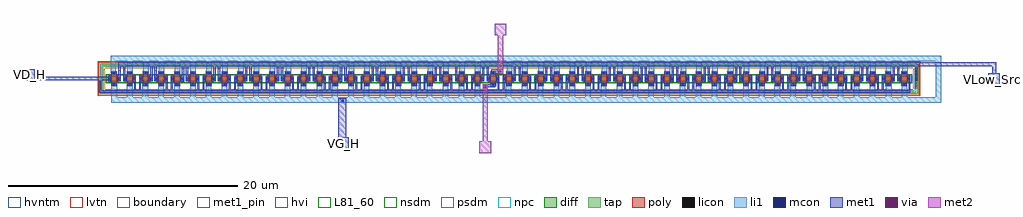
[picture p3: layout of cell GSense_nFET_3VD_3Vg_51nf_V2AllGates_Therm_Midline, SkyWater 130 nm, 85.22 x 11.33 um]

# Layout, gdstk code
import gdstk
lib = gdstk.Library(unit=1e-6, precision=1e-09)
def R(c, l, rs):  # rectangles x0, y0, x1, y1
    for r in rs: c.add(gdstk.rectangle(r[:2], r[2:], *l))
def A(c, l, x, y, w, h, nx, ny, dx, dy):  # array of equal rectangles
    R(c, l, [(x+i*dx, y+j*dy, x+i*dx+w, y+j*dy+h) for i in range(nx) for j in range(ny)])
diff = (65, 20)
tap = (65, 44)
poly = (66, 20)
licon = (66, 44)
li1 = (67, 20)
mcon = (67, 44)
met1_pin = (68, 16)
met1 = (68, 20)
via = (68, 44)
met2 = (69, 20)
hvi = (75, 20)
L81_60 = (81, 60)
nsdm = (93, 44)
psdm = (94, 20)
npc = (95, 20)
hvntm = (125, 20)
lvtn = (125, 44)
boundary = (235, 4)

sky130_fd_pr__nfet_03v3_ = lib.new_cell('sky130_fd_pr__nfet_03v3_nvt_XW2EXC')
A(sky130_fd_pr__nfet_03v3_, diff, -35.04, -0.21, 1.08, 0.42, 51, 1, 1.38, 0)
R(sky130_fd_pr__nfet_03v3_, tap, [(-35.71,-1.32,35.71,-1.03), (-35.71,-1.03,-35.42,1.03), (35.42,-1.03,35.71,1.03), (-35.71,1.03,35.71,1.32)])
A(sky130_fd_pr__nfet_03v3_, poly, -34.75, -0.65, 0.5, 1.3, 51, 1, 1.38, 0)
A(sky130_fd_pr__nfet_03v3_, licon, 35.48, -0.765, 0.17, 0.17, 1, 5, 0, 0.34)
A(sky130_fd_pr__nfet_03v3_, licon, -34.585, -0.57, 0.17, 0.17, 51, 2, 1.38, 0.97)
R(sky130_fd_pr__nfet_03v3_, licon, [(-34.98,-0.085,-34.81,0.085), (-34.19,-0.085,-34.02,0.085), (-33.6,-0.085,-33.43,0.085), (-32.81,-0.085,-32.64,0.085), (-32.22,-0.085,-32.05,0.085), (-31.43,-0.085,-31.26,0.085), (-30.84,-0.085,-30.67,0.085), (-30.05,-0.085,-29.88,0.085), (-29.46,-0.085,-29.29,0.085), (-28.67,-0.085,-28.5,0.085), (-28.08,-0.085,-27.91,0.085), (-27.29,-0.085,-27.12,0.085), (-26.7,-0.085,-26.53,0.085), (-25.91,-0.085,-25.74,0.085), (-25.32,-0.085,-25.15,0.085), (-24.53,-0.085,-24.36,0.085), (-23.94,-0.085,-23.77,0.085), (-23.15,-0.085,-22.98,0.085), (-22.56,-0.085,-22.39,0.085), (-21.77,-0.085,-21.6,0.085), (-21.18,-0.085,-21.01,0.085), (-20.39,-0.085,-20.22,0.085), (-19.8,-0.085,-19.63,0.085), (-19.01,-0.085,-18.84,0.085), (-18.42,-0.085,-18.25,0.085), (-17.63,-0.085,-17.46,0.085), (-17.04,-0.085,-16.87,0.085), (-16.25,-0.085,-16.08,0.085), (-15.66,-0.085,-15.49,0.085), (-14.87,-0.085,-14.7,0.085), (-14.28,-0.085,-14.11,0.085), (-13.49,-0.085,-13.32,0.085), (-12.9,-0.085,-12.73,0.085), (-12.11,-0.085,-11.94,0.085), (-11.52,-0.085,-11.35,0.085), (-10.73,-0.085,-10.56,0.085), (-10.14,-0.085,-9.97,0.085), (-9.35,-0.085,-9.18,0.085), (-8.76,-0.085,-8.59,0.085), (-7.97,-0.085,-7.8,0.085), (-7.38,-0.085,-7.21,0.085), (-6.59,-0.085,-6.42,0.085), (-6,-0.085,-5.83,0.085), (-5.21,-0.085,-5.04,0.085), (-4.62,-0.085,-4.45,0.085), (-3.83,-0.085,-3.66,0.085), (-3.24,-0.085,-3.07,0.085), (-2.45,-0.085,-2.28,0.085), (-1.86,-0.085,-1.69,0.085), (-1.07,-0.085,-0.9,0.085), (-0.48,-0.085,-0.31,0.085), (0.31,-0.085,0.48,0.085), (0.9,-0.085,1.07,0.085), (1.69,-0.085,1.86,0.085), (2.28,-0.085,2.45,0.085), (3.07,-0.085,3.24,0.085), (3.66,-0.085,3.83,0.085), (4.45,-0.085,4.62,0.085), (5.04,-0.085,5.21,0.085), (5.83,-0.085,6,0.085), (6.42,-0.085,6.59,0.085), (7.21,-0.085,7.38,0.085), (7.8,-0.085,7.97,0.085), (8.59,-0.085,8.76,0.085), (9.18,-0.085,9.35,0.085), (9.97,-0.085,10.14,0.085), (10.56,-0.085,10.73,0.085), (11.35,-0.085,11.52,0.085), (11.94,-0.085,12.11,0.085), (12.73,-0.085,12.9,0.085), (13.32,-0.085,13.49,0.085), (14.11,-0.085,14.28,0.085), (14.7,-0.085,14.87,0.085), (15.49,-0.085,15.66,0.085), (16.08,-0.085,16.25,0.085), (16.87,-0.085,17.04,0.085), (17.46,-0.085,17.63,0.085), (18.25,-0.085,18.42,0.085), (18.84,-0.085,19.01,0.085), (19.63,-0.085,19.8,0.085), (20.22,-0.085,20.39,0.085), (21.01,-0.085,21.18,0.085), (21.6,-0.085,21.77,0.085), (22.39,-0.085,22.56,0.085), (22.98,-0.085,23.15,0.085), (23.77,-0.085,23.94,0.085), (24.36,-0.085,24.53,0.085), (25.15,-0.085,25.32,0.085), (25.74,-0.085,25.91,0.085), (26.53,-0.085,26.7,0.085), (27.12,-0.085,27.29,0.085), (27.91,-0.085,28.08,0.085), (28.5,-0.085,28.67,0.085), (29.29,-0.085,29.46,0.085), (29.88,-0.085,30.05,0.085), (30.67,-0.085,30.84,0.085), (31.26,-0.085,31.43,0.085), (32.05,-0.085,32.22,0.085), (32.64,-0.085,32.81,0.085), (33.43,-0.085,33.6,0.085), (34.02,-0.085,34.19,0.085), (34.81,-0.085,34.98,0.085)])
A(sky130_fd_pr__nfet_03v3_, li1, -34.75, -0.57, 0.5, 0.17, 51, 2, 1.38, 0.97)
R(sky130_fd_pr__nfet_03v3_, li1, [(35.48,-0.86,35.65,0.86), (-34.98,-0.23,-34.81,0.23), (-34.19,-0.23,-34.02,0.23), (-33.6,-0.23,-33.43,0.23), (-32.81,-0.23,-32.64,0.23), (-32.22,-0.23,-32.05,0.23), (-31.43,-0.23,-31.26,0.23), (-30.84,-0.23,-30.67,0.23), (-30.05,-0.23,-29.88,0.23), (-29.46,-0.23,-29.29,0.23), (-28.67,-0.23,-28.5,0.23), (-28.08,-0.23,-27.91,0.23), (-27.29,-0.23,-27.12,0.23), (-26.7,-0.23,-26.53,0.23), (-25.91,-0.23,-25.74,0.23), (-25.32,-0.23,-25.15,0.23), (-24.53,-0.23,-24.36,0.23), (-23.94,-0.23,-23.77,0.23), (-23.15,-0.23,-22.98,0.23), (-22.56,-0.23,-22.39,0.23), (-21.77,-0.23,-21.6,0.23), (-21.18,-0.23,-21.01,0.23), (-20.39,-0.23,-20.22,0.23), (-19.8,-0.23,-19.63,0.23), (-19.01,-0.23,-18.84,0.23), (-18.42,-0.23,-18.25,0.23), (-17.63,-0.23,-17.46,0.23), (-17.04,-0.23,-16.87,0.23), (-16.25,-0.23,-16.08,0.23), (-15.66,-0.23,-15.49,0.23), (-14.87,-0.23,-14.7,0.23), (-14.28,-0.23,-14.11,0.23), (-13.49,-0.23,-13.32,0.23), (-12.9,-0.23,-12.73,0.23), (-12.11,-0.23,-11.94,0.23), (-11.52,-0.23,-11.35,0.23), (-10.73,-0.23,-10.56,0.23), (-10.14,-0.23,-9.97,0.23), (-9.35,-0.23,-9.18,0.23), (-8.76,-0.23,-8.59,0.23), (-7.97,-0.23,-7.8,0.23), (-7.38,-0.23,-7.21,0.23), (-6.59,-0.23,-6.42,0.23), (-6,-0.23,-5.83,0.23), (-5.21,-0.23,-5.04,0.23), (-4.62,-0.23,-4.45,0.23), (-3.83,-0.23,-3.66,0.23), (-3.24,-0.23,-3.07,0.23), (-2.45,-0.23,-2.28,0.23), (-1.86,-0.23,-1.69,0.23), (-1.07,-0.23,-0.9,0.23), (-0.48,-0.23,-0.31,0.23), (0.31,-0.23,0.48,0.23), (0.9,-0.23,1.07,0.23), (1.69,-0.23,1.86,0.23), (2.28,-0.23,2.45,0.23), (3.07,-0.23,3.24,0.23), (3.66,-0.23,3.83,0.23), (4.45,-0.23,4.62,0.23), (5.04,-0.23,5.21,0.23), (5.83,-0.23,6,0.23), (6.42,-0.23,6.59,0.23), (7.21,-0.23,7.38,0.23), (7.8,-0.23,7.97,0.23), (8.59,-0.23,8.76,0.23), (9.18,-0.23,9.35,0.23), (9.97,-0.23,10.14,0.23), (10.56,-0.23,10.73,0.23), (11.35,-0.23,11.52,0.23), (11.94,-0.23,12.11,0.23), (12.73,-0.23,12.9,0.23), (13.32,-0.23,13.49,0.23), (14.11,-0.23,14.28,0.23), (14.7,-0.23,14.87,0.23), (15.49,-0.23,15.66,0.23), (16.08,-0.23,16.25,0.23), (16.87,-0.23,17.04,0.23), (17.46,-0.23,17.63,0.23), (18.25,-0.23,18.42,0.23), (18.84,-0.23,19.01,0.23), (19.63,-0.23,19.8,0.23), (20.22,-0.23,20.39,0.23), (21.01,-0.23,21.18,0.23), (21.6,-0.23,21.77,0.23), (22.39,-0.23,22.56,0.23), (22.98,-0.23,23.15,0.23), (23.77,-0.23,23.94,0.23), (24.36,-0.23,24.53,0.23), (25.15,-0.23,25.32,0.23), (25.74,-0.23,25.91,0.23), (26.53,-0.23,26.7,0.23), (27.12,-0.23,27.29,0.23), (27.91,-0.23,28.08,0.23), (28.5,-0.23,28.67,0.23), (29.29,-0.23,29.46,0.23), (29.88,-0.23,30.05,0.23), (30.67,-0.23,30.84,0.23), (31.26,-0.23,31.43,0.23), (32.05,-0.23,32.22,0.23), (32.64,-0.23,32.81,0.23), (33.43,-0.23,33.6,0.23), (34.02,-0.23,34.19,0.23), (34.81,-0.23,34.98,0.23)])
A(sky130_fd_pr__nfet_03v3_, mcon, -34.585, -0.57, 0.17, 0.17, 51, 2, 1.38, 0.97)
R(sky130_fd_pr__nfet_03v3_, mcon, [(-34.98,-0.085,-34.81,0.085), (-34.19,-0.085,-34.02,0.085), (-33.6,-0.085,-33.43,0.085), (-32.81,-0.085,-32.64,0.085), (-32.22,-0.085,-32.05,0.085), (-31.43,-0.085,-31.26,0.085), (-30.84,-0.085,-30.67,0.085), (-30.05,-0.085,-29.88,0.085), (-29.46,-0.085,-29.29,0.085), (-28.67,-0.085,-28.5,0.085), (-28.08,-0.085,-27.91,0.085), (-27.29,-0.085,-27.12,0.085), (-26.7,-0.085,-26.53,0.085), (-25.91,-0.085,-25.74,0.085), (-25.32,-0.085,-25.15,0.085), (-24.53,-0.085,-24.36,0.085), (-23.94,-0.085,-23.77,0.085), (-23.15,-0.085,-22.98,0.085), (-22.56,-0.085,-22.39,0.085), (-21.77,-0.085,-21.6,0.085), (-21.18,-0.085,-21.01,0.085), (-20.39,-0.085,-20.22,0.085), (-19.8,-0.085,-19.63,0.085), (-19.01,-0.085,-18.84,0.085), (-18.42,-0.085,-18.25,0.085), (-17.63,-0.085,-17.46,0.085), (-17.04,-0.085,-16.87,0.085), (-16.25,-0.085,-16.08,0.085), (-15.66,-0.085,-15.49,0.085), (-14.87,-0.085,-14.7,0.085), (-14.28,-0.085,-14.11,0.085), (-13.49,-0.085,-13.32,0.085), (-12.9,-0.085,-12.73,0.085), (-12.11,-0.085,-11.94,0.085), (-11.52,-0.085,-11.35,0.085), (-10.73,-0.085,-10.56,0.085), (-10.14,-0.085,-9.97,0.085), (-9.35,-0.085,-9.18,0.085), (-8.76,-0.085,-8.59,0.085), (-7.97,-0.085,-7.8,0.085), (-7.38,-0.085,-7.21,0.085), (-6.59,-0.085,-6.42,0.085), (-6,-0.085,-5.83,0.085), (-5.21,-0.085,-5.04,0.085), (-4.62,-0.085,-4.45,0.085), (-3.83,-0.085,-3.66,0.085), (-3.24,-0.085,-3.07,0.085), (-2.45,-0.085,-2.28,0.085), (-1.86,-0.085,-1.69,0.085), (-1.07,-0.085,-0.9,0.085), (-0.48,-0.085,-0.31,0.085), (0.31,-0.085,0.48,0.085), (0.9,-0.085,1.07,0.085), (1.69,-0.085,1.86,0.085), (2.28,-0.085,2.45,0.085), (3.07,-0.085,3.24,0.085), (3.66,-0.085,3.83,0.085), (4.45,-0.085,4.62,0.085), (5.04,-0.085,5.21,0.085), (5.83,-0.085,6,0.085), (6.42,-0.085,6.59,0.085), (7.21,-0.085,7.38,0.085), (7.8,-0.085,7.97,0.085), (8.59,-0.085,8.76,0.085), (9.18,-0.085,9.35,0.085), (9.97,-0.085,10.14,0.085), (10.56,-0.085,10.73,0.085), (11.35,-0.085,11.52,0.085), (11.94,-0.085,12.11,0.085), (12.73,-0.085,12.9,0.085), (13.32,-0.085,13.49,0.085), (14.11,-0.085,14.28,0.085), (14.7,-0.085,14.87,0.085), (15.49,-0.085,15.66,0.085), (16.08,-0.085,16.25,0.085), (16.87,-0.085,17.04,0.085), (17.46,-0.085,17.63,0.085), (18.25,-0.085,18.42,0.085), (18.84,-0.085,19.01,0.085), (19.63,-0.085,19.8,0.085), (20.22,-0.085,20.39,0.085), (21.01,-0.085,21.18,0.085), (21.6,-0.085,21.77,0.085), (22.39,-0.085,22.56,0.085), (22.98,-0.085,23.15,0.085), (23.77,-0.085,23.94,0.085), (24.36,-0.085,24.53,0.085), (25.15,-0.085,25.32,0.085), (25.74,-0.085,25.91,0.085), (26.53,-0.085,26.7,0.085), (27.12,-0.085,27.29,0.085), (27.91,-0.085,28.08,0.085), (28.5,-0.085,28.67,0.085), (29.29,-0.085,29.46,0.085), (29.88,-0.085,30.05,0.085), (30.67,-0.085,30.84,0.085), (31.26,-0.085,31.43,0.085), (32.05,-0.085,32.22,0.085), (32.64,-0.085,32.81,0.085), (33.43,-0.085,33.6,0.085), (34.02,-0.085,34.19,0.085), (34.81,-0.085,34.98,0.085)])
A(sky130_fd_pr__nfet_03v3_, met1, -34.73, -0.6, 0.46, 0.23, 51, 2, 1.38, 0.97)
R(sky130_fd_pr__nfet_03v3_, met1, [(-34.94,-1.24,-34.06,-1.03), (-35.01,-0.21,-34.78,0.21), (-34.22,-0.21,-33.99,0.21), (-33.63,-0.21,-33.4,0.21), (-32.84,-0.21,-32.61,0.21), (-32.25,-0.21,-32.02,0.21), (-31.46,-0.21,-31.23,0.21), (-30.87,-0.21,-30.64,0.21), (-30.08,-0.21,-29.85,0.21), (-29.49,-0.21,-29.26,0.21), (-28.7,-0.21,-28.47,0.21), (-28.11,-0.21,-27.88,0.21), (-27.32,-0.21,-27.09,0.21), (-26.73,-0.21,-26.5,0.21), (-25.94,-0.21,-25.71,0.21), (-25.35,-0.21,-25.12,0.21), (-24.56,-0.21,-24.33,0.21), (-23.97,-0.21,-23.74,0.21), (-23.18,-0.21,-22.95,0.21), (-22.59,-0.21,-22.36,0.21), (-21.8,-0.21,-21.57,0.21), (-21.21,-0.21,-20.98,0.21), (-20.42,-0.21,-20.19,0.21), (-19.83,-0.21,-19.6,0.21), (-19.04,-0.21,-18.81,0.21), (-18.45,-0.21,-18.22,0.21), (-17.66,-0.21,-17.43,0.21), (-17.07,-0.21,-16.84,0.21), (-16.28,-0.21,-16.05,0.21), (-15.69,-0.21,-15.46,0.21), (-14.9,-0.21,-14.67,0.21), (-14.31,-0.21,-14.08,0.21), (-13.52,-0.21,-13.29,0.21), (-12.93,-0.21,-12.7,0.21), (-12.14,-0.21,-11.91,0.21), (-11.55,-0.21,-11.32,0.21), (-10.76,-0.21,-10.53,0.21), (-10.17,-0.21,-9.94,0.21), (-9.38,-0.21,-9.15,0.21), (-8.79,-0.21,-8.56,0.21), (-8,-0.21,-7.77,0.21), (-7.41,-0.21,-7.18,0.21), (-6.62,-0.21,-6.39,0.21), (-6.03,-0.21,-5.8,0.21), (-5.24,-0.21,-5.01,0.21), (-4.65,-0.21,-4.42,0.21), (-3.86,-0.21,-3.63,0.21), (-3.27,-0.21,-3.04,0.21), (-2.48,-0.21,-2.25,0.21), (-1.89,-0.21,-1.66,0.21), (-1.1,-0.21,-0.87,0.21), (-0.51,-0.21,-0.28,0.21), (0.28,-0.21,0.51,0.21), (0.87,-0.21,1.1,0.21), (1.66,-0.21,1.89,0.21), (2.25,-0.21,2.48,0.21), (3.04,-0.21,3.27,0.21), (3.63,-0.21,3.86,0.21), (4.42,-0.21,4.65,0.21), (5.01,-0.21,5.24,0.21), (5.8,-0.21,6.03,0.21), (6.39,-0.21,6.62,0.21), (7.18,-0.21,7.41,0.21), (7.77,-0.21,8,0.21), (8.56,-0.21,8.79,0.21), (9.15,-0.21,9.38,0.21), (9.94,-0.21,10.17,0.21), (10.53,-0.21,10.76,0.21), (11.32,-0.21,11.55,0.21), (11.91,-0.21,12.14,0.21), (12.7,-0.21,12.93,0.21), (13.29,-0.21,13.52,0.21), (14.08,-0.21,14.31,0.21), (14.67,-0.21,14.9,0.21), (15.46,-0.21,15.69,0.21), (16.05,-0.21,16.28,0.21), (16.84,-0.21,17.07,0.21), (17.43,-0.21,17.66,0.21), (18.22,-0.21,18.45,0.21), (18.81,-0.21,19.04,0.21), (19.6,-0.21,19.83,0.21), (20.19,-0.21,20.42,0.21), (20.98,-0.21,21.21,0.21), (21.57,-0.21,21.8,0.21), (22.36,-0.21,22.59,0.21), (22.95,-0.21,23.18,0.21), (23.74,-0.21,23.97,0.21), (24.33,-0.21,24.56,0.21), (25.12,-0.21,25.35,0.21), (25.71,-0.21,25.94,0.21), (26.5,-0.21,26.73,0.21), (27.09,-0.21,27.32,0.21), (27.88,-0.21,28.11,0.21), (28.47,-0.21,28.7,0.21), (29.26,-0.21,29.49,0.21), (29.85,-0.21,30.08,0.21), (30.64,-0.21,30.87,0.21), (31.23,-0.21,31.46,0.21), (32.02,-0.21,32.25,0.21), (32.61,-0.21,32.84,0.21), (33.4,-0.21,33.63,0.21), (33.99,-0.21,34.22,0.21), (34.78,-0.21,35.01,0.21)])
R(sky130_fd_pr__nfet_03v3_, hvi, [(-35.895,-1.505,35.895,1.505)])
A(sky130_fd_pr__nfet_03v3_, L81_60, -34.85, -0.31, 0.7, 0.62, 51, 1, 1.38, 0)
R(sky130_fd_pr__nfet_03v3_, nsdm, [(-35.165,-0.335,35.165,0.335)])
R(sky130_fd_pr__nfet_03v3_, psdm, [(-35.835,-1.445,35.835,-0.905), (-35.835,-0.905,-35.295,0.905), (35.295,-0.905,35.835,0.905), (-35.835,0.905,35.835,1.445)])
A(sky130_fd_pr__nfet_03v3_, npc, -34.685, -0.67, 0.37, 0.37, 51, 2, 1.38, 0.97)
R(sky130_fd_pr__nfet_03v3_, hvntm, [(-35.225,-0.395,35.225,0.395)])
A(sky130_fd_pr__nfet_03v3_, lvtn, -34.93, -0.39, 0.86, 0.78, 51, 1, 1.38, 0)
R(sky130_fd_pr__nfet_03v3_, boundary, [(-35.56,-1.17,35.56,1.17)])

gsense_nfet_3vd_3vg_51nf = lib.new_cell('GSense_nFET_3VD_3Vg_51nf_V2AllGates_Therm_Midline')
R(gsense_nfet_3vd_3vg_51nf, li1, [(0.83,-4.935,73.295,-4.445), (0.845,-4.445,1.355,-3.245), (2.2,-4.445,2.69,-3.23), (3.56,-4.445,4.05,-3.25), (4.94,-4.445,5.43,-3.27), (6.33,-4.445,6.82,-3.3), (7.71,-4.445,8.2,-3.32), (9.08,-4.445,9.57,-3.31), (10.47,-4.445,10.96,-3.32), (11.86,-4.445,12.35,-3.32), (13.23,-4.445,13.72,-3.32), (14.62,-4.445,15.11,-3.31), (15.975,-4.445,16.475,-3.35), (17.36,-4.445,17.85,-3.27), (18.76,-4.445,19.25,-3.3), (20.1,-4.445,20.59,-3.3), (21.52,-4.445,22.01,-3.32), (22.89,-4.445,23.38,-3.3), (24.27,-4.445,24.76,-3.32), (25.64,-4.445,26.13,-3.28), (27.03,-4.445,27.52,-3.32), (28.38,-4.445,28.87,-3.31), (29.76,-4.445,30.25,-3.28), (31.17,-4.445,31.66,-3.25), (32.55,-4.445,33.04,-3.27), (35.28,-4.445,35.77,-3.27), (36.69,-4.445,37.18,-3.27), (38.08,-4.445,38.57,-3.3), (39.45,-4.445,39.94,-3.3), (40.84,-4.445,41.33,-3.32), (42.22,-4.445,42.71,-3.34), (43.56,-4.445,44.05,-3.34), (44.97,-4.445,45.46,-3.36), (46.36,-4.445,46.85,-3.35), (47.73,-4.445,48.22,-3.36), (49.11,-4.445,49.6,-3.36), (50.46,-4.445,50.95,-3.28), (51.85,-4.445,52.34,-3.32), (53.26,-4.445,53.75,-3.34), (54.67,-4.445,55.16,-3.32), (56.01,-4.445,56.5,-3.3), (57.39,-4.445,57.88,-3.3), (58.74,-4.445,59.23,-3.3), (60.13,-4.445,60.62,-3.27), (61.54,-4.445,62.03,-3.27), (62.94,-4.445,63.43,-3.27), (64.27,-4.445,64.76,-3.28), (65.65,-4.445,66.14,-3.31), (67.05,-4.445,67.54,-3.28), (68.47,-4.445,68.96,-3.28), (69.86,-4.445,70.35,-3.26), (72.805,-4.445,73.295,-1.325), (33.92,-3.475,34.41,-3.27), (15.98,-3.35,16.47,-3.27), (22.91,-2.43,23.4,-1.325), (68.44,-2.43,68.93,-1.325), (67.09,-2.42,67.58,-1.325), (69.9,-2.42,70.39,-1.325), (18.8,-2.41,19.29,-1.325), (28.46,-2.41,28.95,-1.325), (29.82,-2.41,30.31,-1.325), (31.22,-2.41,31.71,-1.325), (32.59,-2.41,33.08,-1.325), (35.35,-2.41,35.84,-1.325), (46.38,-2.41,46.87,-1.325), (47.77,-2.41,48.26,-1.325), (27.03,-2.4,27.52,-1.325), (36.73,-2.4,37.22,-1.325), (38.11,-2.4,38.6,-1.325), (40.87,-2.4,41.36,-1.325), (42.25,-2.4,42.74,-1.325), (43.64,-2.4,44.13,-1.325), (45.02,-2.4,45.51,-1.325), (51.91,-2.4,52.4,-1.325), (4.98,-2.39,5.47,-1.325), (6.37,-2.39,6.86,-1.325), (9.12,-2.39,9.61,-1.325), (10.51,-2.39,11,-1.325), (13.27,-2.39,13.76,-1.325), (20.16,-2.39,20.65,-1.325), (21.55,-2.39,22.04,-1.325), (24.3,-2.39,24.79,-1.325), (25.68,-2.39,26.17,-1.325), (39.49,-2.39,39.98,-1.325), (49.15,-2.39,49.64,-1.325), (57.44,-2.39,57.93,-1.325), (2.23,-2.38,2.72,-1.325), (7.73,-2.38,8.22,-1.325), (50.54,-2.38,51.03,-1.325), (53.29,-2.38,53.78,-1.325), (54.68,-2.38,55.17,-1.325), (58.82,-2.38,59.31,-1.325), (60.2,-2.38,60.69,-1.325), (0.805,-2.375,1.24,-1.325), (16.075,-2.375,16.55,-2.37), (3.61,-2.37,4.1,-1.325), (11.9,-2.37,12.39,-1.325), (14.65,-2.37,15.14,-1.325), (16.03,-2.37,16.55,-2.275), (56.06,-2.37,56.55,-1.325), (61.57,-2.37,62.06,-1.325), (62.97,-2.37,63.46,-1.325), (64.35,-2.37,64.84,-1.325), (65.71,-2.37,66.2,-1.325), (17.42,-2.36,17.91,-1.325), (16.075,-2.275,16.55,-1.325), (0.805,-1.325,73.295,-1.125), (0.81,-1.125,73.295,-0.835)])
R(gsense_nfet_3vd_3vg_51nf, mcon, [(20.97,-4.825,21.14,-4.655)])
R(gsense_nfet_3vd_3vg_51nf, met1_pin, [(20.59,-8.95,21.59,-7.95), (77.39,-3.37,78.39,-2.37), (-6.83,-3,-5.83,-2)])
A(gsense_nfet_3vd_3vg_51nf, met1, 51.13, -3.86, 0.15, 1.32, 3, 1, 2.76, 0)
R(gsense_nfet_3vd_3vg_51nf, met1, [(20.59,-8.95,21.59,-7.95), (20.66,-7.95,21.36,-4.54), (70.4,-4.08,70.61,-4.07), (-0.235,-4.07,0.87,-3.86), (1.27,-4.07,70.61,-3.86), (-0.235,-3.86,-0.025,-2.97), (2.84,-3.86,2.99,-2.58), (3.27,-3.86,3.42,-2.58), (5.61,-3.86,5.76,-2.58), (6.04,-3.86,6.19,-2.58), (8.35,-3.86,8.5,-2.58), (8.81,-3.86,8.96,-2.59), (11.1,-3.86,11.25,-2.59), (11.56,-3.86,11.71,-2.6), (13.88,-3.86,14.03,-2.6), (14.32,-3.86,14.47,-2.61), (16.63,-3.86,16.78,-2.61), (17.07,-3.86,17.22,-2.61), (19.39,-3.86,19.54,-2.6), (19.83,-3.86,19.98,-2.6), (22.15,-3.86,22.3,-2.6), (22.61,-3.86,22.76,-2.6), (24.92,-3.86,25.07,-2.55), (25.35,-3.86,25.5,-2.56), (27.69,-3.86,27.84,-2.57), (28.12,-3.86,28.27,-2.57), (30.45,-3.86,30.62,-2.55), (31.82,-3.86,31.97,-2.56), (32.26,-3.86,32.41,-2.55), (34.56,-3.86,34.71,-2.55), (35.02,-3.86,35.17,-2.55), (37.33,-3.86,37.48,-2.55), (37.79,-3.86,37.94,-2.55), (40.09,-3.86,40.24,-2.55), (40.52,-3.86,40.67,-2.55), (42.86,-3.86,43.01,-2.55), (43.3,-3.86,43.45,-2.56), (45.62,-3.86,45.77,-2.54), (46.06,-3.86,46.21,-2.54), (48.37,-3.86,48.52,-2.53), (48.81,-3.86,48.96,-2.54), (51.57,-3.86,51.72,-2.53), (54.34,-3.86,54.49,-2.53), (57.1,-3.86,57.25,-2.53), (59.42,-3.86,59.57,-2.51), (59.87,-3.86,60.02,-2.5), (62.19,-3.86,62.34,-2.5), (62.62,-3.86,62.77,-2.48), (64.92,-3.86,65.07,-2.55), (65.38,-3.86,65.53,-2.56), (67.7,-3.86,67.85,-2.55), (68.12,-3.86,68.27,-2.55), (70.45,-3.86,70.6,-2.55), (33.275,-3.65,33.7,-3.575), (33.275,-3.575,34.35,-3.325), (16,-3.375,16.455,-3.21), (77.39,-3.37,78.39,-2.37), (16.055,-3.21,16.425,-3.205), (20.79,-3.11,20.99,-1.74), (50.17,-3.11,50.34,-1.74), (52.92,-3.11,53.09,-1.74), (47.05,-3.1,47.22,-1.74), (49.77,-3.1,49.94,-1.74), (52.55,-3.1,52.72,-1.74), (55.3,-3.09,55.47,-1.74), (55.68,-3.09,55.85,-1.74), (6.99,-3.08,7.19,-1.74), (41.5,-3.08,41.67,-1.74), (47.42,-3.08,47.59,-1.74), (58.46,-3.08,58.63,-1.74), (1.46,-3.07,1.66,-1.74), (15.28,-3.07,15.48,-1.74), (18.02,-3.07,18.22,-1.74), (21.18,-3.07,21.38,-1.74), (33.64,-3.07,33.81,-1.74), (58.05,-3.07,58.22,-1.74), (63.98,-3.07,64.15,-1.74), (1.87,-3.06,2.07,-1.74), (4.25,-3.06,4.45,-1.74), (4.59,-3.06,4.79,-1.74), (7.35,-3.06,7.55,-1.74), (12.52,-3.06,12.72,-1.74), (23.57,-3.06,23.77,-1.74), (26.29,-3.06,26.46,-1.74), (26.74,-3.06,26.91,-1.74), (29.07,-3.06,29.24,-1.74), (39.16,-3.06,39.33,-1.74), (44.27,-3.06,44.44,-1.74), (63.56,-3.06,63.73,-1.74), (66.32,-3.06,66.49,-1.74), (12.89,-3.05,13.09,-1.74), (15.63,-3.05,15.83,-1.74), (18.41,-3.05,18.61,-1.74), (30.86,-3.05,31.03,-1.74), (36.4,-3.05,36.57,-1.74), (38.72,-3.05,38.89,-1.74), (41.91,-3.05,42.08,-1.74), (44.66,-3.05,44.83,-1.74), (60.81,-3.05,60.98,-1.74), (66.74,-3.05,66.91,-1.74), (9.75,-3.04,9.95,-1.74), (10.15,-3.04,10.35,-1.74), (23.94,-3.04,24.14,-1.74), (29.49,-3.04,29.66,-1.74), (33.21,-3.04,33.38,-1.74), (61.2,-3.04,61.37,-1.74), (69.48,-3.04,69.65,-1.74), (35.97,-3.03,36.14,-1.74), (69.09,-3.03,69.26,-1.74), (-6.83,-3,-5.83,-2.97), (71.05,-3,71.22,-1.74), (-6.83,-2.97,0.76,-2.68), (-6.83,-2.68,-5.83,-2), (16.07,-2.425,16.475,-2.275), (34,-2.4,35.075,-2), (77.765,-2.37,78.095,-1.74), (1.435,-1.74,78.095,-1.41)])
R(gsense_nfet_3vd_3vg_51nf, via, [(33.41,-3.565,33.56,-3.415), (34.725,-2.275,34.875,-2.125)])
R(gsense_nfet_3vd_3vg_51nf, met2, [(32.975,-9.35,34.025,-8.275), (33.275,-8.275,33.685,-3.7), (33.275,-3.7,33.7,-3.325), (34.6,-2.4,35.075,0.975), (34.325,0.975,35.325,1.975)])
gsense_nfet_3vd_3vg_51nf.add(gdstk.Reference(sky130_fd_pr__nfet_03v3_, (35.565,-2.83)))
gsense_nfet_3vd_3vg_51nf.add(gdstk.Label('VG_H', (21.09,-8.45), layer=68, texttype=5))
gsense_nfet_3vd_3vg_51nf.add(gdstk.Label('VD_H', (-6.33,-2.5), layer=68, texttype=5))
gsense_nfet_3vd_3vg_51nf.add(gdstk.Label('VLow_Src', (77.89,-2.87), layer=68, texttype=5))

lib.write_gds('GSense_nFET_3VD_3Vg_51nf_V2AllGates_Therm_Midline.gds')
